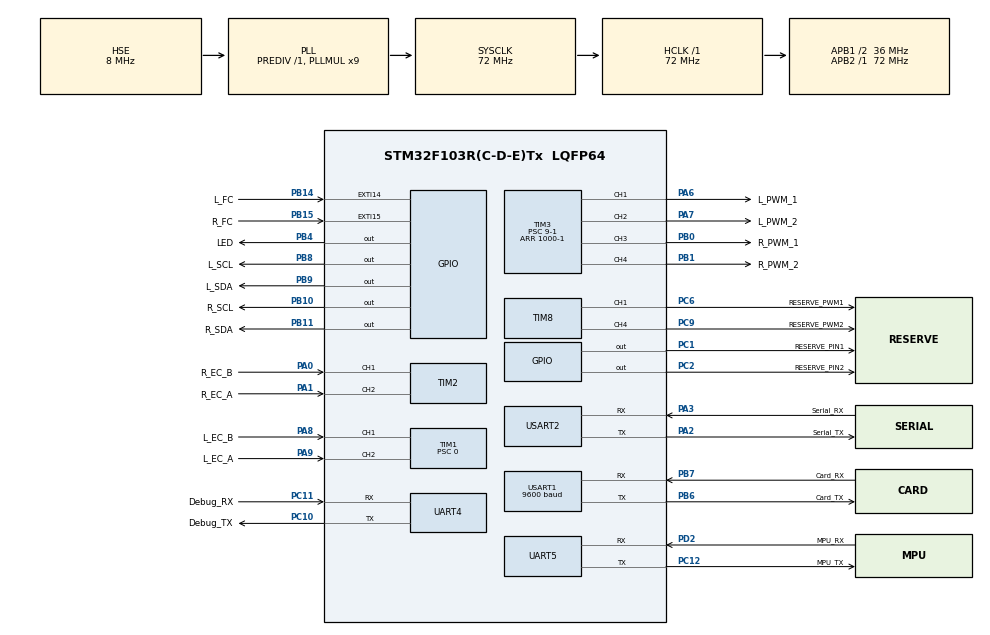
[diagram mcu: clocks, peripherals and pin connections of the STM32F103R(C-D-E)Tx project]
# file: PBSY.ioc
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Dma.Request0=UART4_RX
Dma.Request1=USART1_RX
Dma.Request2=USART2_RX
Dma.Request3=USART2_TX
Dma.UART4_RX.0.Direction=DMA_PERIPH_TO_MEMORY
Dma.UART4_RX.0.Instance=DMA2_Channel3
Dma.UART4_RX.0.MemDataAlignment=DMA_MDATAALIGN_BYTE
Dma.UART4_RX.0.MemInc=DMA_MINC_ENABLE
Dma.UART4_RX.0.Mode=DMA_NORMAL
Dma.UART4_RX.0.PeriphDataAlignment=DMA_PDATAALIGN_BYTE
Dma.UART4_RX.0.PeriphInc=DMA_PINC_DISABLE
Dma.UART4_RX.0.Priority=DMA_PRIORITY_LOW
Dma.USART1_RX.1.Direction=DMA_PERIPH_TO_MEMORY
Dma.USART1_RX.1.Instance=DMA1_Channel5
Dma.USART1_RX.1.MemDataAlignment=DMA_MDATAALIGN_BYTE
Dma.USART1_RX.1.MemInc=DMA_MINC_ENABLE
Dma.USART1_RX.1.Mode=DMA_NORMAL
Dma.USART1_RX.1.PeriphDataAlignment=DMA_PDATAALIGN_BYTE
Dma.USART1_RX.1.PeriphInc=DMA_PINC_DISABLE
Dma.USART1_RX.1.Priority=DMA_PRIORITY_LOW
Dma.USART2_RX.2.Direction=DMA_PERIPH_TO_MEMORY
Dma.USART2_RX.2.Instance=DMA1_Channel6
Dma.USART2_RX.2.MemDataAlignment=DMA_MDATAALIGN_BYTE
Dma.USART2_RX.2.MemInc=DMA_MINC_ENABLE
Dma.USART2_RX.2.Mode=DMA_NORMAL
Dma.USART2_RX.2.PeriphDataAlignment=DMA_PDATAALIGN_BYTE
Dma.USART2_RX.2.PeriphInc=DMA_PINC_DISABLE
Dma.USART2_RX.2.Priority=DMA_PRIORITY_LOW
Dma.USART2_TX.3.Direction=DMA_MEMORY_TO_PERIPH
Dma.USART2_TX.3.Instance=DMA1_Channel7
Dma.USART2_TX.3.MemDataAlignment=DMA_MDATAALIGN_BYTE
Dma.USART2_TX.3.MemInc=DMA_MINC_ENABLE
Dma.USART2_TX.3.Mode=DMA_NORMAL
Dma.USART2_TX.3.PeriphDataAlignment=DMA_PDATAALIGN_BYTE
Dma.USART2_TX.3.PeriphInc=DMA_PINC_DISABLE
Dma.USART2_TX.3.Priority=DMA_PRIORITY_LOW
FREERTOS.BinarySemaphores01=CARD_FLAG,Dynamic,NULL,Depleted;TASK_FLAG,Dynamic,NULL,Depleted
FREERTOS.Tasks01=GET_TASK,16,128,Get_Task,Default,NULL,Dynamic,NULL,NULL;MPU_TASK,24,128,Read_MPU,Default,NULL,Dynamic,NULL,NULL;LIDAR_TASK,24,128,Read_Lidar,Default,NULL,Dynamic,NULL,NULL;PID_TASK,32,256,Move_Control,Default,NULL,Dynamic,NULL,NULL;CARD_TASK,16,128,Read_ID,Default,NULL,Dynamic,NULL,NULL
FREERTOS.configTOTAL_HEAP_SIZE=4600
FREERTOS.configUSE_STATS_FORMATTING_FUNCTIONS=1
Mcu.Family=STM32F1
Mcu.Name=STM32F103R(C-D-E)Tx
Mcu.Package=LQFP64
NVIC.DMA1_Channel5_IRQn=true\:5\:0\:false\:false\:true\:true\:false\:true\:true
NVIC.DMA1_Channel6_IRQn=true\:5\:0\:false\:false\:true\:true\:false\:true\:true
NVIC.DMA1_Channel7_IRQn=true\:5\:0\:false\:false\:true\:true\:false\:true\:true
NVIC.DMA2_Channel3_IRQn=true\:5\:0\:true\:false\:true\:true\:false\:true\:true
NVIC.EXTI15_10_IRQn=true\:5\:0\:true\:false\:true\:true\:true\:true\:true
NVIC.PriorityGroup=NVIC_PRIORITYGROUP_4
NVIC.TIM7_IRQn=true\:15\:0\:true\:false\:true\:false\:false\:true\:true
NVIC.TimeBase=TIM7_IRQn
NVIC.TimeBaseIP=TIM7
NVIC.UART4_IRQn=true\:10\:0\:true\:false\:true\:true\:true\:true\:true
NVIC.UART5_IRQn=true\:10\:0\:true\:false\:true\:true\:true\:true\:true
NVIC.USART1_IRQn=true\:5\:0\:true\:false\:true\:true\:true\:true\:true
NVIC.USART2_IRQn=true\:5\:0\:false\:false\:true\:true\:true\:true\:true
PA0-WKUP.GPIO_Label=R_EC_B
PA0-WKUP.Signal=S_TIM2_CH1_ETR
PA1.GPIO_Label=R_EC_A
PA1.Signal=S_TIM2_CH2
PA13.Mode=Serial_Wire
PA13.Signal=SYS_JTMS-SWDIO
PA14.Mode=Serial_Wire
PA14.Signal=SYS_JTCK-SWCLK
PA2.GPIO_Label=Serial_TX
PA2.Mode=Asynchronous
PA2.Signal=USART2_TX
PA3.GPIO_Label=Serial_RX
PA3.Mode=Asynchronous
PA3.Signal=USART2_RX
PA6.GPIO_Label=L_PWM_1
PA6.GPIO_Speed=GPIO_SPEED_FREQ_HIGH
PA6.Signal=S_TIM3_CH1
PA7.GPIO_Label=L_PWM_2
PA7.GPIO_Speed=GPIO_SPEED_FREQ_HIGH
PA7.Signal=S_TIM3_CH2
PA8.GPIO_Label=L_EC_B
PA8.Signal=S_TIM1_CH1
PA9.GPIO_Label=L_EC_A
PA9.Signal=S_TIM1_CH2
PB0.GPIO_Label=R_PWM_1
PB0.GPIO_Speed=GPIO_SPEED_FREQ_HIGH
PB0.Signal=S_TIM3_CH3
PB1.GPIO_Label=R_PWM_2
PB1.GPIO_Speed=GPIO_SPEED_FREQ_HIGH
PB1.Signal=S_TIM3_CH4
PB10.GPIO_Label=R_SCL
PB10.GPIO_ModeDefaultOutputPP=GPIO_MODE_OUTPUT_OD
PB10.GPIO_PuPd=GPIO_PULLUP
PB10.GPIO_Speed=GPIO_SPEED_FREQ_HIGH
PB10.PinState=GPIO_PIN_SET
PB10.Signal=GPIO_Output
PB11.GPIO_Label=R_SDA
PB11.GPIO_ModeDefaultOutputPP=GPIO_MODE_OUTPUT_OD
PB11.GPIO_PuPd=GPIO_PULLUP
PB11.GPIO_Speed=GPIO_SPEED_FREQ_HIGH
PB11.PinState=GPIO_PIN_SET
PB11.Signal=GPIO_Output
PB14.GPIO_Label=L_FC
PB14.GPIO_ModeDefaultEXTI=GPIO_MODE_IT_RISING
PB14.GPIO_PuPd=GPIO_PULLDOWN
PB14.Signal=GPXTI14
PB15.GPIO_Label=R_FC
PB15.GPIO_ModeDefaultEXTI=GPIO_MODE_IT_RISING
PB15.GPIO_PuPd=GPIO_PULLDOWN
PB15.Signal=GPXTI15
PB4.GPIO_Label=LED
PB4.GPIO_PuPd=GPIO_PULLUP
PB4.PinState=GPIO_PIN_SET
PB4.Signal=GPIO_Output
PB6.GPIO_Label=Card_TX
PB6.Mode=Asynchronous
PB6.Signal=USART1_TX
PB7.GPIO_Label=Card_RX
PB7.Mode=Asynchronous
PB7.Signal=USART1_RX
PB8.GPIO_Label=L_SCL
PB8.GPIO_ModeDefaultOutputPP=GPIO_MODE_OUTPUT_OD
PB8.GPIO_PuPd=GPIO_PULLUP
PB8.GPIO_Speed=GPIO_SPEED_FREQ_HIGH
PB8.PinState=GPIO_PIN_SET
PB8.Signal=GPIO_Output
PB9.GPIO_Label=L_SDA
PB9.GPIO_ModeDefaultOutputPP=GPIO_MODE_OUTPUT_OD
PB9.GPIO_PuPd=GPIO_PULLUP
PB9.GPIO_Speed=GPIO_SPEED_FREQ_HIGH
PB9.PinState=GPIO_PIN_SET
PB9.Signal=GPIO_Output
PC1.GPIO_Label=RESERVE_PIN1
PC1.Signal=GPIO_Output
PC10.GPIO_Label=Debug_TX
PC10.Mode=Asynchronous
PC10.Signal=UART4_TX
PC11.GPIO_Label=Debug_RX
PC11.Mode=Asynchronous
PC11.Signal=UART4_RX
PC12.GPIO_Label=MPU_TX
PC12.Mode=Asynchronous
PC12.Signal=UART5_TX
PC2.GPIO_Label=RESERVE_PIN2
PC2.Signal=GPIO_Output
PC6.GPIO_Label=RESERVE_PWM1
PC6.Signal=S_TIM8_CH1
PC9.GPIO_Label=RESERVE_PWM2
PC9.Signal=S_TIM8_CH4
PD0-OSC_IN.Mode=HSE-External-Oscillator
PD0-OSC_IN.Signal=RCC_OSC_IN
PD1-OSC_OUT.Mode=HSE-External-Oscillator
PD1-OSC_OUT.Signal=RCC_OSC_OUT
PD2.GPIO_Label=MPU_RX
PD2.Mode=Asynchronous
PD2.Signal=UART5_RX
ProjectManager.HeapSize=0x200
ProjectManager.StackSize=0x400
ProjectManager.TargetToolchain=MDK-ARM V5.32
RCC.AHBFreq_Value=72000000
RCC.APB1CLKDivider=RCC_HCLK_DIV2
RCC.APB1Freq_Value=36000000
RCC.APB1TimFreq_Value=72000000
RCC.APB2Freq_Value=72000000
RCC.APB2TimFreq_Value=72000000
RCC.HCLKFreq_Value=72000000
RCC.PLLMUL=RCC_PLL_MUL9
RCC.PLLSourceVirtual=RCC_PLLSOURCE_HSE
RCC.SYSCLKFreq_VALUE=72000000
RCC.SYSCLKSource=RCC_SYSCLKSOURCE_PLLCLK
RCC.USBFreq_Value=72000000
SH.S_TIM1_CH1.0=TIM1_CH1,Encoder_Interface
SH.S_TIM1_CH2.0=TIM1_CH2,Encoder_Interface
SH.S_TIM2_CH1_ETR.0=TIM2_CH1,Encoder_Interface
SH.S_TIM2_CH2.0=TIM2_CH2,Encoder_Interface
SH.S_TIM3_CH1.0=TIM3_CH1,PWM Generation1 CH1
SH.S_TIM3_CH2.0=TIM3_CH2,PWM Generation2 CH2
SH.S_TIM3_CH3.0=TIM3_CH3,PWM Generation3 CH3
SH.S_TIM3_CH4.0=TIM3_CH4,PWM Generation4 CH4
SH.S_TIM8_CH1.0=TIM8_CH1,PWM Generation1 CH1
SH.S_TIM8_CH4.0=TIM8_CH4,PWM Generation4 CH4
TIM1.EncoderMode=TIM_ENCODERMODE_TI12
TIM1.IC1Filter=5
TIM1.IC1Polarity=TIM_ICPOLARITY_RISING
TIM1.IC2Filter=5
TIM1.IC2Polarity=TIM_ICPOLARITY_FALLING
TIM1.Period=65535
TIM1.Prescaler=0
TIM2.EncoderMode=TIM_ENCODERMODE_TI12
TIM2.IC1Filter=5
TIM2.IC1Polarity=TIM_ICPOLARITY_RISING
TIM2.IC2Filter=5
TIM2.IC2Polarity=TIM_ICPOLARITY_FALLING
TIM3.Channel-PWM\ Generation1\ CH1=TIM_CHANNEL_1
TIM3.Channel-PWM\ Generation2\ CH2=TIM_CHANNEL_2
TIM3.Channel-PWM\ Generation3\ CH3=TIM_CHANNEL_3
TIM3.Channel-PWM\ Generation4\ CH4=TIM_CHANNEL_4
TIM3.Period=1000-1
TIM3.Prescaler=9-1
TIM3.Pulse-PWM\ Generation1\ CH1=0
TIM3.Pulse-PWM\ Generation2\ CH2=0
TIM3.Pulse-PWM\ Generation3\ CH3=0
TIM3.Pulse-PWM\ Generation4\ CH4=0
TIM8.Channel-PWM\ Generation1\ CH1=TIM_CHANNEL_1
TIM8.Channel-PWM\ Generation4\ CH4=TIM_CHANNEL_4
UART4.VirtualMode=Asynchronous
UART5.VirtualMode=Asynchronous
USART1.BaudRate=9600
USART1.VirtualMode=VM_ASYNC
USART2.VirtualMode=VM_ASYNC
VP_FREERTOS_VS_CMSIS_V2.Mode=CMSIS_V2
VP_SYS_VS_tim7.Mode=TIM7
VP_TIM3_VS_ClockSourceINT.Mode=Internal
board=custom

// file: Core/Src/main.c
/* USER CODE BEGIN Header */
/**
  ******************************************************************************
  * @file           : main.c
  * @brief          : Main program body
  ******************************************************************************
  * @attention
  *
  * Copyright (c) 2025 STMicroelectronics.
  * All rights reserved.
  *
  * This software is licensed under terms that can be found in the LICENSE file
  * in the root directory of this software component.
  * If no LICENSE file comes with this software, it is provided AS-IS.
  *
  ******************************************************************************
  */
/* USER CODE END Header */
#include "main.h"
#include "cmsis_os.h"
#include "dma.h"
#include "tim.h"
#include "usart.h"
#include "gpio.h"

/* USER CODE BEGIN Includes */
#include "atk_ms901m.h"
#include "atk_ms901m_uart.h"
#include "vl6180x.h"
#include "atk_mw579_uart.h"
#include "atk_mw579.h"
/* USER CODE END Includes */

/* USER CODE BEGIN PV */
uint8_t mpu_once_isr_data[MPU_ISR_TRIG];
uint8_t TEST;
uint8_t CARD_DATA[CARD_DATA_SIZE];
char ORDER_DATA[ODER_DATA_SIZE];

extern DMA_HandleTypeDef hdma_usart1_rx;
extern DMA_HandleTypeDef hdma_usart2_rx;

extern Lidar lidar;

#if ISBLUE == 1
extern uint8_t blue_tmp;
#endif

/* USER CODE END PV */

void SystemClock_Config(void);
void MX_FREERTOS_Init(void);

int main(void)
{

    /* MCU Configuration--------------------------------------------------------*/

    /* Reset of all peripherals, Initializes the Flash interface and the Systick. */
    HAL_Init();

    /* Configure the system clock */
    SystemClock_Config();

    /* Initialize all configured peripherals */
    MX_GPIO_Init();
    MX_DMA_Init();
    MX_TIM1_Init();
    MX_UART4_Init();
    MX_UART5_Init();
    MX_USART1_UART_Init();
    MX_USART2_UART_Init();
    MX_TIM3_Init();
    MX_TIM2_Init();
    MX_TIM8_Init();
    /* USER CODE BEGIN 2 */

    HAL_UART_Receive_IT(&huart5,mpu_once_isr_data,MPU_ISR_TRIG);//mpu
    HAL_UARTEx_ReceiveToIdle_DMA(&huart1,CARD_DATA,sizeof(CARD_DATA));//CARD
    __HAL_DMA_DISABLE_IT(&hdma_usart1_rx,DMA_IT_HT);

    HAL_UARTEx_ReceiveToIdle_DMA(&huart2,ORDER_DATA,sizeof(ORDER_DATA));//SERIAL
    __HAL_DMA_DISABLE_IT(&hdma_usart2_rx,DMA_IT_HT);

    HAL_TIM_Encoder_Start(&htim1,TIM_CHANNEL_ALL);//编码器
    HAL_TIM_Encoder_Start(&htim2,TIM_CHANNEL_ALL);
    HAL_TIM_PWM_Start(&htim3,TIM_CHANNEL_1);//pwm
    HAL_TIM_PWM_Start(&htim3,TIM_CHANNEL_2);
    HAL_TIM_PWM_Start(&htim3,TIM_CHANNEL_3);
    HAL_TIM_PWM_Start(&htim3,TIM_CHANNEL_4);

#if ISBLUE == 1
    HAL_UART_Receive_IT(&huart4,&blue_tmp,1);
    BlueInit();
#endif

    /* USER CODE END 2 */

    /* Init scheduler */
    osKernelInitialize();

    /* Call init function for freertos objects (in cmsis_os2.c) */
    MX_FREERTOS_Init();

    /* Start scheduler */
    osKernelStart();

    /* We should never get here as control is now taken by the scheduler */

    /* Infinite loop */
    while (1)
    {

    }
}

void SystemClock_Config(void)
{
    RCC_OscInitTypeDef RCC_OscInitStruct = {0};
    RCC_ClkInitTypeDef RCC_ClkInitStruct = {0};

    /** Initializes the RCC Oscillators according to the specified parameters
    * in the RCC_OscInitTypeDef structure.
    */
    RCC_OscInitStruct.OscillatorType = RCC_OSCILLATORTYPE_HSE;
    RCC_OscInitStruct.HSEState = RCC_HSE_ON;
    RCC_OscInitStruct.HSEPredivValue = RCC_HSE_PREDIV_DIV1;
    RCC_OscInitStruct.HSIState = RCC_HSI_ON;
    RCC_OscInitStruct.PLL.PLLState = RCC_PLL_ON;
    RCC_OscInitStruct.PLL.PLLSource = RCC_PLLSOURCE_HSE;
    RCC_OscInitStruct.PLL.PLLMUL = RCC_PLL_MUL9;
    if (HAL_RCC_OscConfig(&RCC_OscInitStruct) != HAL_OK)
    {
        Error_Handler();
    }

    /** Initializes the CPU, AHB and APB buses clocks
    */
    RCC_ClkInitStruct.ClockType = RCC_CLOCKTYPE_HCLK|RCC_CLOCKTYPE_SYSCLK
                                  |RCC_CLOCKTYPE_PCLK1|RCC_CLOCKTYPE_PCLK2;
    RCC_ClkInitStruct.SYSCLKSource = RCC_SYSCLKSOURCE_PLLCLK;
    RCC_ClkInitStruct.AHBCLKDivider = RCC_SYSCLK_DIV1;
    RCC_ClkInitStruct.APB1CLKDivider = RCC_HCLK_DIV2;
    RCC_ClkInitStruct.APB2CLKDivider = RCC_HCLK_DIV1;

    if (HAL_RCC_ClockConfig(&RCC_ClkInitStruct, FLASH_LATENCY_2) != HAL_OK)
    {
        Error_Handler();
    }
}

/* USER CODE BEGIN 4 */

void CarInit(void) {

}

/* USER CODE END 4 */

void HAL_TIM_PeriodElapsedCallback(TIM_HandleTypeDef *htim)
{
    if (htim->Instance == TIM7)
    {
        HAL_IncTick();
    }
}

void Error_Handler(void)
{
    __disable_irq();
    while (1)
    {
    }
}

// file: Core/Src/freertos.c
/* USER CODE BEGIN Header */
/**
  ******************************************************************************
  * File Name          : freertos.c
  * Description        : Code for freertos applications
  ******************************************************************************
  * @attention
  *
  * Copyright (c) 2025 STMicroelectronics.
  * All rights reserved.
  *
  * This software is licensed under terms that can be found in the LICENSE file
  * in the root directory of this software component.
  * If no LICENSE file comes with this software, it is provided AS-IS.
  *
  ******************************************************************************
  */
/* USER CODE END Header */

#include "FreeRTOS.h"
#include "task.h"
#include "main.h"
#include "cmsis_os.h"

/* USER CODE BEGIN Includes */
#include "usart.h"
#include "atk_ms901m.h"
#include "atk_ms901m_uart.h"
#include "math.h"
#include "vl6180x.h"
#include "tim.h"
#include "motor.h"
#include "dma.h"
#include "semphr.h"
#include "queue.h"
#include "pid.h"
#include "atk_mw579_uart.h"
#include "atk_mw579.h"

/* USER CODE END Includes */

/* USER CODE BEGIN PM */

void Task_Stat_Print(void);
void CarStatParmPrint(void);
/* USER CODE END PM */

/* USER CODE BEGIN Variables */

#if ISBLUE == 1
uint8_t blue_tmp;
#endif

bool mpu_isReady = false;
bool lidar_isReady = false;

//MPU
float sita;
extern uint8_t mpu_once_isr_data[MPU_ISR_TRIG];
extern atk_ms901m_gyro_data_t gyro_dat;
extern atk_ms901m_accelerometer_data_t accelerometer_dat;
extern atk_ms901m_quaternion_data_t quaternion_dat;
extern atk_ms901m_attitude_data_t attitude_dat;

//TARGET PARA
TARGET_PARA TargetPara;

//Lidar
Lidar lidar;
int Queue_lidar[2] = {255,255}; // 初始化判断数组
int q_size = sizeof(Queue_lidar) / sizeof(Queue_lidar[0]);

//MOTOR
extern Motor_Stat LEFT_MOTOR;
extern Motor_Stat RIG_MOTOR;

//CAR_STAT
CAR_STAT Car_stat;//车身参数
MOVE_TASK_STAT move_task_stat;//运动模式
TASK_STAT TaskStat;//回传
enum ODERSTAT OderStat;//命令执行状态

//CARD
extern uint8_t CARD_DATA[CARD_DATA_SIZE];
extern DMA_HandleTypeDef hdma_usart1_rx;

//SERIAL
extern char ORDER_DATA[ODER_DATA_SIZE];
extern DMA_HandleTypeDef hdma_usart2_rx;

/* USER CODE END Variables */
/* Definitions for GET_TASK */
osThreadId_t GET_TASKHandle;
const osThreadAttr_t GET_TASK_attributes = {
    .name = "GET_TASK",
    .stack_size = 128 * 4,
    .priority = (osPriority_t) osPriorityBelowNormal,
};
/* Definitions for MPU_TASK */
osThreadId_t MPU_TASKHandle;
const osThreadAttr_t MPU_TASK_attributes = {
    .name = "MPU_TASK",
    .stack_size = 128 * 4,
    .priority = (osPriority_t) osPriorityNormal,
};
/* Definitions for LIDAR_TASK */
osThreadId_t LIDAR_TASKHandle;
const osThreadAttr_t LIDAR_TASK_attributes = {
    .name = "LIDAR_TASK",
    .stack_size = 128 * 4,
    .priority = (osPriority_t) osPriorityNormal,
};
/* Definitions for PID_TASK */
osThreadId_t PID_TASKHandle;
const osThreadAttr_t PID_TASK_attributes = {
    .name = "PID_TASK",
    .stack_size = 256 * 4,
    .priority = (osPriority_t) osPriorityAboveNormal,
};
/* Definitions for CARD_TASK */
osThreadId_t CARD_TASKHandle;
const osThreadAttr_t CARD_TASK_attributes = {
    .name = "CARD_TASK",
    .stack_size = 128 * 4,
    .priority = (osPriority_t) osPriorityBelowNormal,
};
/* Definitions for CARD_FLAG */
osSemaphoreId_t CARD_FLAGHandle;
const osSemaphoreAttr_t CARD_FLAG_attributes = {
    .name = "CARD_FLAG"
};
/* Definitions for TASK_FLAG */
osSemaphoreId_t TASK_FLAGHandle;
const osSemaphoreAttr_t TASK_FLAG_attributes = {
    .name = "TASK_FLAG"
};

void Get_Task(void *argument);
void Read_MPU(void *argument);
void Read_Lidar(void *argument);
void Move_Control(void *argument);
void Read_ID(void *argument);

void MX_FREERTOS_Init(void); /* (MISRA C 2004 rule 8.1) */

void MX_FREERTOS_Init(void) {

    /* Create the semaphores(s) */
    /* creation of CARD_FLAG */
    CARD_FLAGHandle = osSemaphoreNew(1, 0, &CARD_FLAG_attributes);

    /* creation of TASK_FLAG */
    TASK_FLAGHandle = osSemaphoreNew(1, 0, &TASK_FLAG_attributes);

    /* Create the thread(s) */
    /* creation of GET_TASK */
    GET_TASKHandle = osThreadNew(Get_Task, NULL, &GET_TASK_attributes);

    /* creation of MPU_TASK */
    MPU_TASKHandle = osThreadNew(Read_MPU, NULL, &MPU_TASK_attributes);

    /* creation of LIDAR_TASK */
    LIDAR_TASKHandle = osThreadNew(Read_Lidar, NULL, &LIDAR_TASK_attributes);

    /* creation of PID_TASK */
    PID_TASKHandle = osThreadNew(Move_Control, NULL, &PID_TASK_attributes);

    /* creation of CARD_TASK */
    CARD_TASKHandle = osThreadNew(Read_ID, NULL, &CARD_TASK_attributes);

}

void Get_Task(void *argument)
{
    /* USER CODE BEGIN Get_Task */
    char DONE = '#';
    char STOP = '!';
    char ID_ = '@';

    char test_[] = "##################################################################";
    /* Infinite loop */
    for(;;)
    {

        //SEND
        if(TaskStat.ISDONE) {
            HAL_UART_Transmit_DMA(&huart2,test_,sizeof(test_));
            TaskStat.ISDONE = false;

        }

        else if(xSemaphoreTake(CARD_FLAGHandle,100)==pdTRUE) {
            //=========封装ID=======//

            //=========封装ID=======//
            TaskStat.ISID= false;
        }

        else if(TaskStat.ISSTOP) {

            HAL_UART_Transmit_DMA(&huart2,test_,sizeof(test_));
            TaskStat.ISSTOP = false;

        }

        //RECIEVE
        if((xSemaphoreTake(TASK_FLAGHandle,100) == pdTRUE)) {

            char task_seg[3];
            float value1, value2;

            sscanf(ORDER_DATA, "%[^|]|%f|%f", task_seg, &value1, &value2);

            // GoAhead
            if ((strcmp(task_seg, "1") == 0) && (OderStat != running)) {
                TargetPara.ARG_VAL = value1;
				TargetPara.AHEAD_NUM = value2;
                TargetPara.SITA = Car_stat.Car_Alpha;

                move_task_stat.AHEAD_FLAG = true;
            }

            //	Turn
            else if ((strcmp(task_seg, "2") == 0) && (OderStat != running) ) {
                TargetPara.MAX_VAL = value2;
                TargetPara.SITA = value1 + Car_stat.Car_Alpha;

                //坐标系整合
                if(TargetPara.SITA > 180.f)TargetPara.SITA = (TargetPara.SITA - 180.f) - 180.f ;
                if(TargetPara.SITA < -180.f)TargetPara.SITA = (TargetPara.SITA + 180.f) + 180.f ;

                printf("GET ORFER !!!!!!!   TURN VAL : %f  TARGET SITA:  %f\r\n",value2,value1);
                move_task_stat.TURN_FLAG = true;
            }

            // Dis
            else if ((strcmp(task_seg, "3") == 0) && (OderStat != running)) {
                TargetPara.SITA = Car_stat.Car_Alpha;
                TargetPara.DIS  = value1;
                TargetPara.MAX_VAL = value2;

                move_task_stat.DIS_FLAG = true;

            }

            // STop
            else if ((strcmp(task_seg, "4") == 0) && (OderStat != running)) {
                move_task_stat.STOP_FLAG = true;
                printf("GET_ORDER_STOP\r\n");
            }

            // err
            else {
                printf("UN DONE !\r\n");
            }

        }

        vTaskDelay(pdMS_TO_TICKS(100));

    }
    /* USER CODE END Get_Task */
}

void Read_MPU(void *argument)
{

    /* USER CODE BEGIN Read_MPU */

    uint8_t cnt = 0;
    uint8_t ret = atk_ms901m_init();
    float sita_init = atk_ms901m_sita_init(10);
    float sita_fliter[FILTER_RANGE] = {sita_init,sita_init,sita_init,sita_init,sita_init};
    //==========DEBUG:给pid调试一个单独参数================//
    TargetPara.SITA = sita_init;
    //==========DEBUG:给pid调试一个单独参数================//

    /* Infinite loop */
    for(;;)
    {
        uint8_t	ret = atk_ms901m_get_attitude(&attitude_dat,MPU_MAX_WAIT);
        Car_stat.Car_Alpha = GildeAverageValueFilter_float(attitude_dat.yaw,sita_fliter,FILTER_RANGE);

        cnt +=1;

        if(cnt == 5)mpu_isReady = true;
        vTaskDelay(pdMS_TO_TICKS(30));
    }
    /* USER CODE END Read_MPU */
}

void Read_Lidar(void *argument)
{
    /* USER CODE BEGIN Read_Lidar */

    uint8_t cnt = 0;

    VL6180X_Init(1);
    VL6180X_Init(2);
    VL6180X_Range_Cailbration(&lidar,CAILBRATION_DIS,CAILBRATION_REPIT);

    /* Infinite loop */
    for(;;)
    {

        lidar.RigLidar = VL6180X_Read_Range(2) - lidar.Rig_Cali;
        lidar.LefLidar = VL6180X_Read_Range(1)- lidar.Lef_Cali;

        Sliding_Window_Algorithm(Queue_lidar,q_size,&lidar);
		//printf("l:%d  r:  %d \r\n ",lidar.LefLidar,lidar.RigLidar);

		HAL_GPIO_TogglePin(LED_GPIO_Port,LED_Pin);

        cnt+=1;
        if(cnt == 5)lidar_isReady = true;
        vTaskDelay(pdMS_TO_TICKS(25));

    }
    /* USER CODE END Read_Lidar */
}

void Move_Control(void *argument)
{
    /* USER CODE BEGIN Move_Control */

    uint8_t ret = 0;
    uint8_t ahead_cnt = 0;

	PID_init();
    Car_Move_Stat_Refresh();
    Car_Dis_ReFresh();
    while(lidar_isReady != true || mpu_isReady != true)vTaskDelay(pdMS_TO_TICKS(50));
    printf("\n ALL_IS_READEY !!!\r\n");

	move_task_stat.AHEAD_FLAG = true;
	TargetPara.ARG_VAL = 35;
	TargetPara.AHEAD_NUM = 2;

	/* Infinite loop */

    for(;;)
    {

        CarStat_Get();

		//CarStatParmPrint();

		//CarGoAhead(35,TargetPara.SITA);

		/*急停为最高优先级*/
		if(move_task_stat.STOP_FLAG) {
            OderStat = running;
            printf("RUN_STOP_ORDER\r\n");
            Car_Move_Stat_Refresh();
            Car_Dis_ReFresh();
            ret  += CarStop();
            if(ret >= 3) {
                OderStat = done;
                Motor_Set(0,0);
                printf("STOP OVER!\r\n");
                TaskStat.ISDONE = true;
                move_task_stat.STOP_FLAG = false;
                Car_Dis_ReFresh();
                ret = 0;
            }

        }

        /*直走*/
		else if(move_task_stat.AHEAD_FLAG) {
			ret += CarGoAhead(TargetPara.ARG_VAL,TargetPara.SITA);
            OderStat = running;
            //路过一次路口
			if (ret == 1) ahead_cnt+=1;

			else if(ret>=4 && (TargetPara.AHEAD_NUM == ahead_cnt)) {
                OderStat = done;
                move_task_stat.AHEAD_FLAG = false;
                Car_Dis_ReFresh();//距离重置
                TaskStat.ISDONE = true;
                ret = 0;
				ahead_cnt = 0;
				move_task_stat.STOP_FLAG = true;
            }
        }

        /*转向  2|90|13 */
		else if(move_task_stat.TURN_FLAG) {
            ret += CarTurn(TargetPara.SITA,Car_stat.Car_Alpha,TargetPara.MAX_VAL,2);
            OderStat = running;

            if(ret>=3) {
                printf("TURN OVER \r\n");
                OderStat = done;
                move_task_stat.TURN_FLAG = false;
                Car_Alpha_ReFresh(TargetPara.SITA);
                Car_Dis_ReFresh();
                TaskStat.ISDONE = true;
                ret = 0;
            }

        }

        /*指定距离*/
		else if(move_task_stat.DIS_FLAG) {
            ret +=CarSetDis(TargetPara.DIS,TargetPara.MAX_VAL,Car_stat.Car_Alpha);
            OderStat = running;

            if(ret>=3) {
                OderStat = done;
                move_task_stat.DIS_FLAG = false;
                Car_Dis_ReFresh();
                TaskStat.ISDONE = true;
                ret = 0;
            }

        }

        /*无任务*/
		else {
            OderStat = null;
        }

        vTaskDelay(pdMS_TO_TICKS(15));

    }
    /* USER CODE END Move_Control */
}

void Read_ID(void *argument)
{
    /* USER CODE BEGIN Read_ID */
    /* Infinite loop */
    for(;;)
    {

        if(xSemaphoreTake(CARD_FLAGHandle,portMAX_DELAY) == pdTRUE) {
            for(int i=0; i<=sizeof(CARD_DATA_SIZE); i++) {
                //printf("%d",CARD_DATA[i]);
                CARD_DATA[i] = 0;
            }
        }

    }
    /* USER CODE END Read_ID */
}

/* USER CODE BEGIN Application */

/*调试*/
void CarStatParmPrint(void) {

    printf("SITA:   %f   TARGET_SITA	%f   	DIS:  %f	 L_VAL: %f	R_VAL:  %f 	L_LIDAR:%d  RIG_LIDAR: %d	\r\n",
           Car_stat.Car_Alpha,
           TargetPara.SITA,
           Car_stat.Car_Dis,
           LEFT_MOTOR.Motorspeed,
           RIG_MOTOR.Motorspeed,
           lidar.LefLidar,
           lidar.RigLidar);

    //printf("L:%f  R:%f\r\n",lidar.LefLidar,lidar.RigLidar);

    //printf("stop_flag : %d  turn_flag : %d  isDone : %d\r\n",move_task_stat.STOP_FLAG,move_task_stat.TURN_FLAG,TaskStat.ISDONE);
}

/*FIND_COLOR_STOP_ISR*/
BaseType_t xHigherPriorityTaskWoken_stop = pdFALSE;
void HAL_GPIO_EXTI_Callback(uint16_t GPIO_Pin) {
    if(GPIO_Pin == R_FC_Pin || GPIO_Pin==L_FC_Pin) move_task_stat.STOP_FLAG = true;
}

/*MPU_RXNE_ISR*/
void HAL_UART_RxCpltCallback(UART_HandleTypeDef *huart) {

    if( (huart->Instance == UART5) && ((huart->Instance->SR&USART_SR_RXNE) == RESET) ) {
        atk_ms901m_uart_rx_fifo_write(mpu_once_isr_data, MPU_ISR_TRIG);
        HAL_UART_Receive_IT(&huart5,mpu_once_isr_data,MPU_ISR_TRIG);
    }
}

/*SERIAL_DMA_ISR*/
BaseType_t xHigherPriorityTaskWoken_card = pdFALSE;
BaseType_t xHigherPriorityTaskWoken_serial = pdFALSE;
void HAL_UARTEx_RxEventCallback(UART_HandleTypeDef *huart, uint16_t Size) {

    //CARD
    if(huart == &huart1) {
        HAL_UARTEx_ReceiveToIdle_DMA(&huart1,CARD_DATA,sizeof(CARD_DATA));
        __HAL_DMA_DISABLE_IT(&hdma_usart1_rx,DMA_IT_HT);
        if(CARD_FLAGHandle != NULL)	{
            BaseType_t err = xSemaphoreGiveFromISR(CARD_FLAGHandle,&xHigherPriorityTaskWoken_card);
            portYIELD_FROM_ISR(xHigherPriorityTaskWoken_card);
        }

    }

    //SERIAL
    if(huart == &huart2) {
        HAL_UARTEx_ReceiveToIdle_DMA(&huart2,ORDER_DATA,sizeof(ORDER_DATA));//SERIAL
        __HAL_DMA_DISABLE_IT(&hdma_usart2_rx,DMA_IT_HT);
        if(TASK_FLAGHandle != NULL)	{
            BaseType_t err = xSemaphoreGiveFromISR(TASK_FLAGHandle,&xHigherPriorityTaskWoken_serial);
            portYIELD_FROM_ISR(xHigherPriorityTaskWoken_serial);
        }

    }

    //BLUE
#if ISBLUE == 1
    extern struct rx_frame g_uart_rx_frame;
    if(huart==&huart4) {

        HAL_UART_Receive_IT(&huart4, &blue_tmp, 1);           /* 使能寄存器非空中断*/

        if (g_uart_rx_frame.sta.len < (ATK_MW579_UART_RX_BUF_SIZE - 1))     /* 判断UART接收缓冲是否溢出*/
        {
            g_uart_rx_frame.buf[g_uart_rx_frame.sta.len] = blue_tmp;             /* 将接收到的数据写入缓冲 */
            g_uart_rx_frame.sta.len++;                                      /* 更新接收到的数据长度 */
        }
        else                                                                /* UART接收缓冲溢出 */
        {
            g_uart_rx_frame.sta.len = 0;                                    /* 覆盖之前收到的数据 */
            g_uart_rx_frame.buf[g_uart_rx_frame.sta.len] = blue_tmp;             /* 将接收到的数据写入缓冲 */
            g_uart_rx_frame.sta.len++;                                      /* 更新接收到的数据长度 */
        }

    }
#endif
}

/*
 task name		task 当前状态 	 													task 优先级   				最小剩余 task 栈空间

						X: running     正在运行 			 								越大优先级越高	    剩余！
						B: blocked    等待（自动，osdelay,二值等待）
						R: ready        就绪
						D: deleted     删除
						S: suspended挂起（手动）
*/
void Task_Stat_Print(void) {

//		TaskStatus_t taskInfo ;
//		BaseType_t getFreeSpace = pdTRUE;
//		eTaskState taskState = eInvalid;
//
//		TaskHandle_t taskhandle = GET_TASKHandle ;
//		vTaskGetInfo(taskhandle,&taskInfo,getFreeSpace,taskState);
//		printf("Task Name: %s  Task State: %d  Stack High water mark: %d\r\n",taskInfo.pcTaskName,taskInfo.eCurrentState,taskInfo.usStackHighWaterMark);
//
//		taskhandle = MPU_TASKHandle ;
//		vTaskGetInfo(taskhandle,&taskInfo,getFreeSpace,taskState);
//		printf("Task Name: %s  Task State: %d  Stack High water mark: %d\r\n",taskInfo.pcTaskName,taskInfo.eCurrentState,taskInfo.usStackHighWaterMark);
//
//		taskhandle = LIDAR_TASKHandle ;
//		vTaskGetInfo(taskhandle,&taskInfo,getFreeSpace,taskState);
//		printf("Task Name: %s  Task State: %d  Stack High water mark: %d\r\n",taskInfo.pcTaskName,taskInfo.eCurrentState,taskInfo.usStackHighWaterMark);
//
//		taskhandle = PID_TASKHandle ;
//		vTaskGetInfo(taskhandle,&taskInfo,getFreeSpace,taskState);
//		printf("Task Name: %s  Task State: %d  Stack High water mark: %d\r\n",taskInfo.pcTaskName,taskInfo.eCurrentState,taskInfo.usStackHighWaterMark);
//
//		taskhandle = CARD_TASKHandle ;
//		vTaskGetInfo(taskhandle,&taskInfo,getFreeSpace,taskState);
//		printf("Task Name: %s  Task State: %d  Stack High water mark: %d\r\n",taskInfo.pcTaskName,taskInfo.eCurrentState,taskInfo.usStackHighWaterMark);
//		printf("\r\n");

    char InfoBuffer[200];
    vTaskList(InfoBuffer);
    printf("taskName ttaskState ttaskPrio ttaskStack ttaskNum\r\n");
    printf("%s",InfoBuffer);
    printf("\r\n");
    printf("\r\n");
    printf("LF %d RIG %d \r\n",lidar.LefLidar,lidar.RigLidar);

}

/* USER CODE END Application */
